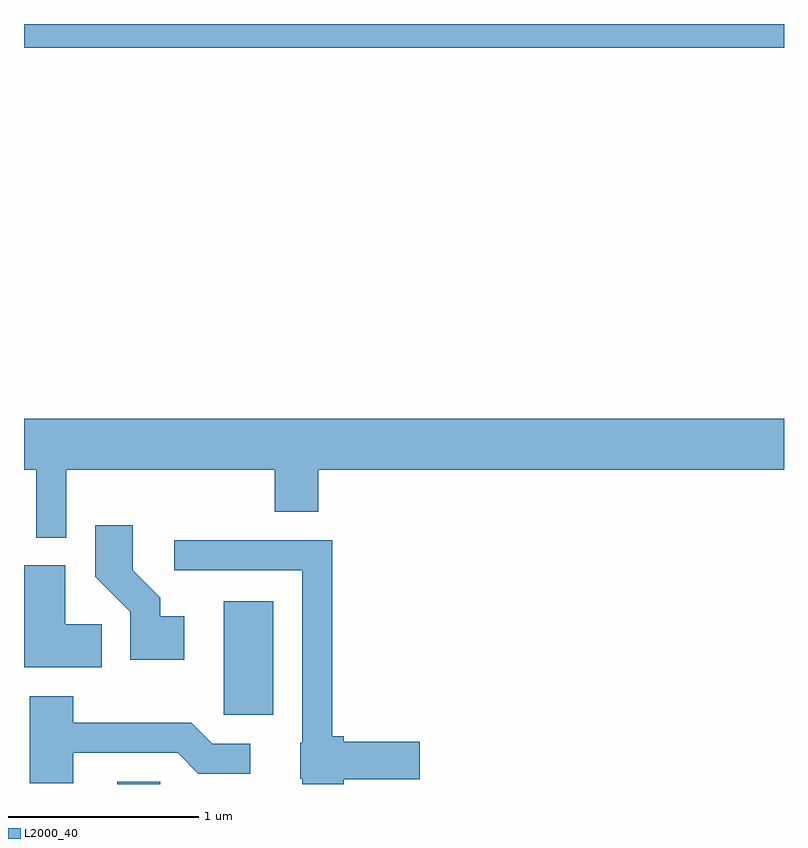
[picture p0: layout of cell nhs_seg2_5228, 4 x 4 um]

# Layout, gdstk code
import gdstk
lib = gdstk.Library(unit=1e-6, precision=1e-09)
def R(c, l, rs):  # rectangles x0, y0, x1, y1
    for r in rs: c.add(gdstk.rectangle(r[:2], r[2:], *l))
def P(c, l, *ps):  # polygons
    for p in ps: c.add(gdstk.Polygon(p, *l))
L2000_40 = (2000, 40)

nhs_seg2_5228 = lib.new_cell('nhs_seg2_5228')
R(nhs_seg2_5228, L2000_40, [(340.101,1017.802,340.329,1017.814), (340.661,1018.166,340.924,1018.764), (339.611,1021.676,343.611,1021.802)])
P(nhs_seg2_5228, L2000_40, [(339.834,1019.456),(340.931,1019.456),(340.931,1019.236),(341.159,1019.236),(341.159,1019.456),(343.611,1019.456),(343.611,1019.724),(339.611,1019.724),(339.611,1019.456),(339.676,1019.456),(339.676,1019.098),(339.834,1019.098)],
  [(340.454,1018.684),(340.329,1018.684),(340.329,1018.782),(340.184,1018.927),(340.184,1019.164),(339.986,1019.164),(339.986,1018.894),(340.171,1018.709),(340.171,1018.456),(340.454,1018.456)],
  [(341.294,1017.826),(341.694,1017.826),(341.694,1018.024),(341.294,1018.024),(341.294,1018.054),(341.234,1018.054),(341.234,1019.084),(340.403,1019.084),(340.403,1018.926),(341.076,1018.926),(341.076,1018.02),(341.066,1018.02),(341.066,1017.83),(341.076,1017.83),(341.076,1017.802),(341.294,1017.802)],
  [(340.019,1018.644),(339.829,1018.644),(339.829,1018.954),(339.611,1018.954),(339.611,1018.416),(340.019,1018.416)],
  [(339.869,1017.966),(340.419,1017.966),(340.529,1017.856),(340.803,1017.856),(340.803,1018.014),(340.602,1018.014),(340.492,1018.124),(339.869,1018.124),(339.869,1018.264),(339.641,1018.264),(339.641,1017.806),(339.869,1017.806)])

lib.write_gds('nhs_seg2_5228.gds')
